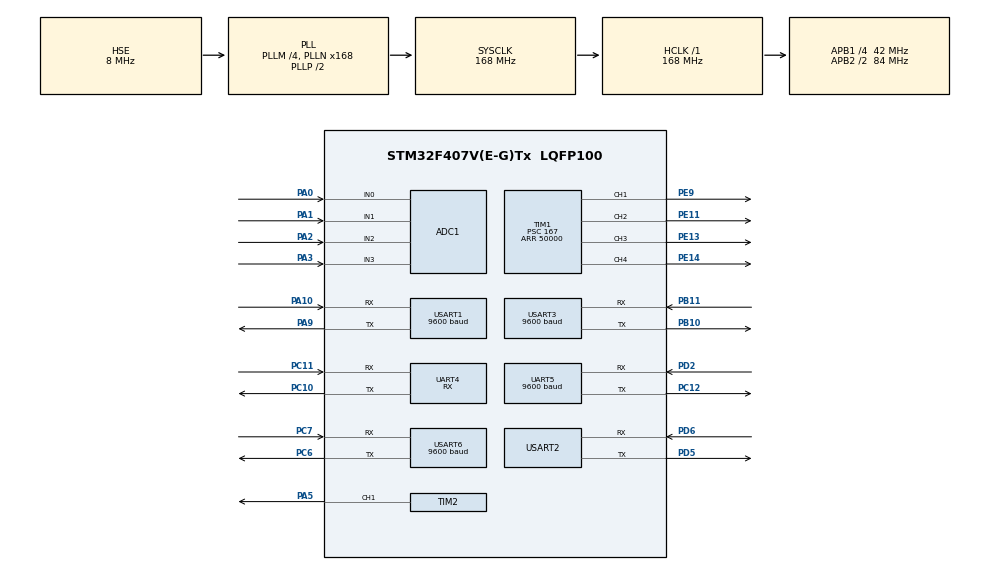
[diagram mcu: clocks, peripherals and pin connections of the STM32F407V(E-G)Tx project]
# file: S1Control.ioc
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ADC1.Channel-24\#ChannelRegularConversion=ADC_CHANNEL_0
ADC1.Channel-25\#ChannelRegularConversion=ADC_CHANNEL_1
ADC1.Channel-26\#ChannelRegularConversion=ADC_CHANNEL_2
ADC1.Channel-27\#ChannelRegularConversion=ADC_CHANNEL_3
ADC1.ContinuousConvMode=ENABLE
ADC1.DMAContinuousRequests=ENABLE
ADC1.EOCSelection=ADC_EOC_SEQ_CONV
ADC1.NbrOfConversion=4
ADC1.NbrOfConversionFlag=1
ADC1.Rank-24\#ChannelRegularConversion=1
ADC1.Rank-25\#ChannelRegularConversion=2
ADC1.Rank-26\#ChannelRegularConversion=3
ADC1.Rank-27\#ChannelRegularConversion=4
ADC1.SamplingTime-24\#ChannelRegularConversion=ADC_SAMPLETIME_84CYCLES
ADC1.SamplingTime-25\#ChannelRegularConversion=ADC_SAMPLETIME_84CYCLES
ADC1.SamplingTime-26\#ChannelRegularConversion=ADC_SAMPLETIME_84CYCLES
ADC1.SamplingTime-27\#ChannelRegularConversion=ADC_SAMPLETIME_84CYCLES
ADC1.ScanConvMode=ENABLE
ADC1.master=1
Dma.ADC1.6.Direction=DMA_PERIPH_TO_MEMORY
Dma.ADC1.6.FIFOMode=DMA_FIFOMODE_DISABLE
Dma.ADC1.6.Instance=DMA2_Stream0
Dma.ADC1.6.MemDataAlignment=DMA_MDATAALIGN_WORD
Dma.ADC1.6.MemInc=DMA_MINC_ENABLE
Dma.ADC1.6.Mode=DMA_CIRCULAR
Dma.ADC1.6.PeriphDataAlignment=DMA_PDATAALIGN_WORD
Dma.ADC1.6.PeriphInc=DMA_PINC_DISABLE
Dma.ADC1.6.Priority=DMA_PRIORITY_LOW
Dma.Request0=USART1_RX
Dma.Request1=USART2_RX
Dma.Request2=USART3_RX
Dma.Request3=USART3_TX
Dma.Request4=UART4_RX
Dma.Request5=USART2_TX
Dma.Request6=ADC1
Dma.Request7=UART5_TX
Dma.UART4_RX.4.Direction=DMA_PERIPH_TO_MEMORY
Dma.UART4_RX.4.FIFOMode=DMA_FIFOMODE_DISABLE
Dma.UART4_RX.4.Instance=DMA1_Stream2
Dma.UART4_RX.4.MemDataAlignment=DMA_MDATAALIGN_BYTE
Dma.UART4_RX.4.MemInc=DMA_MINC_ENABLE
Dma.UART4_RX.4.Mode=DMA_NORMAL
Dma.UART4_RX.4.PeriphDataAlignment=DMA_PDATAALIGN_BYTE
Dma.UART4_RX.4.PeriphInc=DMA_PINC_DISABLE
Dma.UART4_RX.4.Priority=DMA_PRIORITY_LOW
Dma.UART5_TX.7.Direction=DMA_MEMORY_TO_PERIPH
Dma.UART5_TX.7.FIFOMode=DMA_FIFOMODE_DISABLE
Dma.UART5_TX.7.Instance=DMA1_Stream7
Dma.UART5_TX.7.MemDataAlignment=DMA_MDATAALIGN_BYTE
Dma.UART5_TX.7.MemInc=DMA_MINC_ENABLE
Dma.UART5_TX.7.Mode=DMA_NORMAL
Dma.UART5_TX.7.PeriphDataAlignment=DMA_PDATAALIGN_BYTE
Dma.UART5_TX.7.PeriphInc=DMA_PINC_DISABLE
Dma.UART5_TX.7.Priority=DMA_PRIORITY_LOW
Dma.USART1_RX.0.Direction=DMA_PERIPH_TO_MEMORY
Dma.USART1_RX.0.FIFOMode=DMA_FIFOMODE_DISABLE
Dma.USART1_RX.0.Instance=DMA2_Stream5
Dma.USART1_RX.0.MemDataAlignment=DMA_MDATAALIGN_BYTE
Dma.USART1_RX.0.MemInc=DMA_MINC_ENABLE
Dma.USART1_RX.0.Mode=DMA_NORMAL
Dma.USART1_RX.0.PeriphDataAlignment=DMA_PDATAALIGN_BYTE
Dma.USART1_RX.0.PeriphInc=DMA_PINC_DISABLE
Dma.USART1_RX.0.Priority=DMA_PRIORITY_LOW
Dma.USART2_RX.1.Direction=DMA_PERIPH_TO_MEMORY
Dma.USART2_RX.1.FIFOMode=DMA_FIFOMODE_DISABLE
Dma.USART2_RX.1.Instance=DMA1_Stream5
Dma.USART2_RX.1.MemDataAlignment=DMA_MDATAALIGN_BYTE
Dma.USART2_RX.1.MemInc=DMA_MINC_ENABLE
Dma.USART2_RX.1.Mode=DMA_NORMAL
Dma.USART2_RX.1.PeriphDataAlignment=DMA_PDATAALIGN_BYTE
Dma.USART2_RX.1.PeriphInc=DMA_PINC_DISABLE
Dma.USART2_RX.1.Priority=DMA_PRIORITY_LOW
Dma.USART2_TX.5.Direction=DMA_MEMORY_TO_PERIPH
Dma.USART2_TX.5.FIFOMode=DMA_FIFOMODE_DISABLE
Dma.USART2_TX.5.Instance=DMA1_Stream6
Dma.USART2_TX.5.MemDataAlignment=DMA_MDATAALIGN_BYTE
Dma.USART2_TX.5.MemInc=DMA_MINC_ENABLE
Dma.USART2_TX.5.Mode=DMA_NORMAL
Dma.USART2_TX.5.PeriphDataAlignment=DMA_PDATAALIGN_BYTE
Dma.USART2_TX.5.PeriphInc=DMA_PINC_DISABLE
Dma.USART2_TX.5.Priority=DMA_PRIORITY_LOW
Dma.USART3_RX.2.Direction=DMA_PERIPH_TO_MEMORY
Dma.USART3_RX.2.FIFOMode=DMA_FIFOMODE_DISABLE
Dma.USART3_RX.2.Instance=DMA1_Stream1
Dma.USART3_RX.2.MemDataAlignment=DMA_MDATAALIGN_BYTE
Dma.USART3_RX.2.MemInc=DMA_MINC_ENABLE
Dma.USART3_RX.2.Mode=DMA_NORMAL
Dma.USART3_RX.2.PeriphDataAlignment=DMA_PDATAALIGN_BYTE
Dma.USART3_RX.2.PeriphInc=DMA_PINC_DISABLE
Dma.USART3_RX.2.Priority=DMA_PRIORITY_LOW
Dma.USART3_TX.3.Direction=DMA_MEMORY_TO_PERIPH
Dma.USART3_TX.3.FIFOMode=DMA_FIFOMODE_DISABLE
Dma.USART3_TX.3.Instance=DMA1_Stream3
Dma.USART3_TX.3.MemDataAlignment=DMA_MDATAALIGN_BYTE
Dma.USART3_TX.3.MemInc=DMA_MINC_ENABLE
Dma.USART3_TX.3.Mode=DMA_NORMAL
Dma.USART3_TX.3.PeriphDataAlignment=DMA_PDATAALIGN_BYTE
Dma.USART3_TX.3.PeriphInc=DMA_PINC_DISABLE
Dma.USART3_TX.3.Priority=DMA_PRIORITY_LOW
FREERTOS.Tasks01=UART1Task,0,128,U1Task,Default,NULL,Dynamic,NULL,NULL;UART2Task,0,128,U2Task,Default,NULL,Dynamic,NULL,NULL;UART3Task,0,128,U3Task,Default,NULL,Dynamic,NULL,NULL;UART4Task,0,128,U4Task,Default,NULL,Dynamic,NULL,NULL;DisplayTask,0,128,ScreenTask,Default,NULL,Dynamic,NULL,NULL
FREERTOS.configTICK_RATE_HZ=100
IWDG.Prescaler=IWDG_PRESCALER_32
IWDG.Reload=2047
Mcu.Family=STM32F4
Mcu.Name=STM32F407V(E-G)Tx
Mcu.Package=LQFP100
NVIC.DMA1_Stream1_IRQn=true\:5\:0\:false\:false\:true\:true\:false\:true
NVIC.DMA1_Stream2_IRQn=true\:5\:0\:false\:false\:true\:true\:false\:true
NVIC.DMA1_Stream3_IRQn=true\:5\:0\:false\:false\:true\:true\:false\:true
NVIC.DMA1_Stream5_IRQn=true\:5\:0\:false\:false\:true\:true\:false\:true
NVIC.DMA1_Stream6_IRQn=true\:5\:0\:false\:false\:true\:true\:false\:true
NVIC.DMA1_Stream7_IRQn=true\:5\:0\:false\:false\:true\:true\:false\:true
NVIC.DMA2_Stream0_IRQn=true\:5\:0\:false\:false\:true\:true\:false\:true
NVIC.DMA2_Stream5_IRQn=true\:5\:0\:false\:false\:true\:true\:false\:true
NVIC.PriorityGroup=NVIC_PRIORITYGROUP_4
NVIC.TIM6_DAC_IRQn=true\:0\:0\:false\:false\:true\:false\:false\:true
NVIC.TimeBase=TIM6_DAC_IRQn
NVIC.TimeBaseIP=TIM6
NVIC.UART4_IRQn=true\:5\:0\:false\:false\:true\:true\:true\:true
NVIC.UART5_IRQn=true\:5\:0\:false\:false\:true\:true\:true\:true
NVIC.USART1_IRQn=true\:5\:0\:false\:false\:true\:true\:true\:true
NVIC.USART2_IRQn=true\:5\:0\:false\:false\:true\:true\:true\:true
NVIC.USART3_IRQn=true\:5\:0\:false\:false\:true\:true\:true\:true
PA0-WKUP.Signal=ADCx_IN0
PA1.Signal=ADCx_IN1
PA10.Mode=Asynchronous
PA10.Signal=USART1_RX
PA13.Mode=Serial_Wire
PA13.Signal=SYS_JTMS-SWDIO
PA14.Mode=Serial_Wire
PA14.Signal=SYS_JTCK-SWCLK
PA2.Signal=ADCx_IN2
PA3.Signal=ADCx_IN3
PA5.Signal=S_TIM2_CH1_ETR
PA9.Mode=Asynchronous
PA9.Signal=USART1_TX
PB10.Mode=Asynchronous
PB10.Signal=USART3_TX
PB11.Mode=Asynchronous
PB11.Signal=USART3_RX
PC10.Mode=Asynchronous
PC10.Signal=UART4_TX
PC11.Mode=Asynchronous
PC11.Signal=UART4_RX
PC12.Mode=Asynchronous
PC12.Signal=UART5_TX
PC14-OSC32_IN.Mode=LSE-External-Oscillator
PC14-OSC32_IN.Signal=RCC_OSC32_IN
PC15-OSC32_OUT.Mode=LSE-External-Oscillator
PC15-OSC32_OUT.Signal=RCC_OSC32_OUT
PC6.Mode=Asynchronous
PC6.Signal=USART6_TX
PC7.Mode=Asynchronous
PC7.Signal=USART6_RX
PD2.Mode=Asynchronous
PD2.Signal=UART5_RX
PD5.Mode=Asynchronous
PD5.Signal=USART2_TX
PD6.Mode=Asynchronous
PD6.Signal=USART2_RX
PE11.Signal=S_TIM1_CH2
PE13.Signal=S_TIM1_CH3
PE14.Signal=S_TIM1_CH4
PE9.Signal=S_TIM1_CH1
PH0-OSC_IN.Mode=HSE-External-Oscillator
PH0-OSC_IN.Signal=RCC_OSC_IN
PH1-OSC_OUT.Mode=HSE-External-Oscillator
PH1-OSC_OUT.Signal=RCC_OSC_OUT
ProjectManager.HeapSize=0x200
ProjectManager.StackSize=0x400
ProjectManager.TargetToolchain=Other Toolchains (GPDSC)
RCC.48MHZClocksFreq_Value=84000000
RCC.AHBFreq_Value=168000000
RCC.APB1CLKDivider=RCC_HCLK_DIV4
RCC.APB1Freq_Value=42000000
RCC.APB1TimFreq_Value=84000000
RCC.APB2CLKDivider=RCC_HCLK_DIV2
RCC.APB2Freq_Value=84000000
RCC.APB2TimFreq_Value=168000000
RCC.CortexFreq_Value=168000000
RCC.HCLKFreq_Value=168000000
RCC.HSE_VALUE=8000000
RCC.HSI_VALUE=16000000
RCC.PLLM=4
RCC.PLLN=168
RCC.PLLSourceVirtual=RCC_PLLSOURCE_HSE
RCC.SYSCLKFreq_VALUE=168000000
RCC.SYSCLKSource=RCC_SYSCLKSOURCE_PLLCLK
RCC.VCOOutputFreq_Value=336000000
SH.ADCx_IN0.0=ADC1_IN0,IN0
SH.ADCx_IN1.0=ADC1_IN1,IN1
SH.ADCx_IN2.0=ADC1_IN2,IN2
SH.ADCx_IN3.0=ADC1_IN3,IN3
SH.S_TIM1_CH1.0=TIM1_CH1,PWM Generation1 CH1
SH.S_TIM1_CH2.0=TIM1_CH2,PWM Generation2 CH2
SH.S_TIM1_CH3.0=TIM1_CH3,PWM Generation3 CH3
SH.S_TIM1_CH4.0=TIM1_CH4,PWM Generation4 CH4
SH.S_TIM2_CH1_ETR.0=TIM2_CH1,PWM Generation1 CH1
TIM1.Channel-PWM\ Generation1\ CH1=TIM_CHANNEL_1
TIM1.Channel-PWM\ Generation2\ CH2=TIM_CHANNEL_2
TIM1.Channel-PWM\ Generation3\ CH3=TIM_CHANNEL_3
TIM1.Channel-PWM\ Generation4\ CH4=TIM_CHANNEL_4
TIM1.Period=50000
TIM1.Prescaler=167
TIM1.Pulse-PWM\ Generation1\ CH1=1100
TIM1.Pulse-PWM\ Generation2\ CH2=1500
TIM2.Channel-PWM\ Generation1\ CH1=TIM_CHANNEL_1
TIM2.Period=5000
TIM2.Prescaler=41
UART4.Mode=MODE_RX
UART4.VirtualMode=Asynchronous
UART5.BaudRate=9600
UART5.Mode=MODE_TX
UART5.VirtualMode=Asynchronous
USART1.BaudRate=9600
USART1.Mode=MODE_RX
USART1.VirtualMode=VM_ASYNC
USART2.VirtualMode=VM_ASYNC
USART3.BaudRate=9600
USART3.VirtualMode=VM_ASYNC
USART6.BaudRate=9600
USART6.VirtualMode=VM_ASYNC
VP_FREERTOS_VS_CMSIS_V1.Mode=CMSIS_V1
VP_IWDG_VS_IWDG.Mode=IWDG_Activate
VP_SYS_VS_tim6.Mode=TIM6
VP_TIM1_VS_ClockSourceINT.Mode=Internal
VP_TIM2_VS_ClockSourceINT.Mode=Internal
board=custom

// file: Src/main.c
/* USER CODE BEGIN Header */
/**
  ******************************************************************************
  * @file           : main.c
  * @brief          : Main program body
  ******************************************************************************
  * @attention
  *
  * <h2><center>&copy; Copyright (c) 2019 STMicroelectronics.
  * All rights reserved.</center></h2>
  *
  * This software component is licensed by ST under BSD 3-Clause license,
  * the "License"; You may not use this file except in compliance with the
  * License. You may obtain a copy of the License at:
  *                        opensource.org/licenses/BSD-3-Clause
  *
  ******************************************************************************
  */
/* USER CODE END Header */

#include "main.h"
#include "cmsis_os.h"

/* USER CODE BEGIN Includes */
#include <stdio.h>
/* USER CODE END Includes */

ADC_HandleTypeDef hadc1;
DMA_HandleTypeDef hdma_adc1;

IWDG_HandleTypeDef hiwdg;

TIM_HandleTypeDef htim1;
TIM_HandleTypeDef htim2;

UART_HandleTypeDef huart4;
UART_HandleTypeDef huart5;
UART_HandleTypeDef huart1;
UART_HandleTypeDef huart2;
UART_HandleTypeDef huart3;
UART_HandleTypeDef huart6;
DMA_HandleTypeDef hdma_uart4_rx;
DMA_HandleTypeDef hdma_uart5_tx;
DMA_HandleTypeDef hdma_usart1_rx;
DMA_HandleTypeDef hdma_usart2_rx;
DMA_HandleTypeDef hdma_usart2_tx;
DMA_HandleTypeDef hdma_usart3_rx;
DMA_HandleTypeDef hdma_usart3_tx;

osThreadId UART1TaskHandle;
osThreadId UART2TaskHandle;
osThreadId UART3TaskHandle;
osThreadId UART4TaskHandle;
osThreadId DisplayTaskHandle;
/* USER CODE BEGIN PV */

u8 SystemBegin = 0;

//Printf指向的指针变量
volatile UART_HandleTypeDef* UartHandle = &huart1;

//串口1RX口
volatile u8 U1_RX_Len = 0;
volatile u8 U1_RX_EndFlag = 0;
u8 U1_RX_Buffer[70];
char U1_RX_BufferSize = 70;
u8* U1_RX_Position = NULL;
//串口2RX口
volatile u8 U2_RX_Len = 0;
volatile u8 U2_RX_EndFlag = 0;
u8 U2_RX_Buffer[12];
char U2_RX_BufferSize = 12;
u8* U2_RX_Position = NULL;
//串口3RX口
volatile u8 U3_RX_Len = 0;
volatile u8 U3_RX_EndFlag = 0;
u8 U3_RX_Buffer[50];
char U3_RX_BufferSize = 50;
u8* U3_RX_Position = NULL;
//串口4RX口
volatile u8 U4_RX_Len = 0;
volatile u8 U4_RX_EndFlag = 0;
u8 U4_RX_Buffer[40];
char U4_RX_BufferSize = 40;
u8* U4_RX_Position = 0;

u8 U2_TX_Begin[30] = "$9:100:100:100:1100:1500:1500%";

float ControlTemperture = 0;
u16 Pitch = 0;
u16 Yaw = 0;
u16 Roll = 0;
u16 GeomagneticAngle = 0;
uint32_t WaterTemperture = 0;
uint32_t Depth = 0;
uint32_t ADCCache[4] = { 0 };
u16 ADCResult[4] = { 0 };
u16 Light = 0;
u16 PTZ = 0;
u16 Crab = 0;
int ControlWater[2] = { 6, 0 };
int PowerWater[4] = { 6, 1, 6, 1 };
u8 ScreenFinish[3] = { 0 };
u8 SendBuffer[5] = { 0x55, 0, 0, 0, 0x00 };
u8 SendByte = 0;

u8 SendDepth[5] = { 0 };
u8 SendWaterT[4] = { 0 };
u8 SendGAngle[3] = { 0 };
u8 SendPitch[3] = { 0 };
u8 SendPower[4] = { 0 };
u8 Num[11][2] =
{
	{ 0xa3, 0xb0 },
	{ 0xa3, 0xb1 },
	{ 0xa3, 0xb2 },
	{ 0xa3, 0xb3 },
	{ 0xa3, 0xb4 },
	{ 0xa3, 0xb5 },
	{ 0xa3, 0xb6 },
	{ 0xa3, 0xb7 },
	{ 0xa3, 0xb8 },
	{ 0xa3, 0xb9 },
	{ 0xa3, 0xae }
};
u8 SendPowerWater[3][6][2] =
{
{
	{ 0xb5, 0xe7 },
	{ 0xd4, 0xb4 },
	{ 0xb2, 0xd6 },
	{ 0xa3, 0xb1 },
	{ 0xc2, 0xa9 },
	{ 0xcb, 0xae }
},
{
	{ 0xb5, 0xe7 },
	{ 0xd4, 0xb4 },
	{ 0xb2, 0xd6 },
	{ 0xa3, 0xb2 },
	{ 0xc2, 0xa9 },
	{ 0xcb, 0xae }
},
{
	{ 0xa1, 0xa1 },
	{ 0xa1, 0xa1 },
	{ 0xa1, 0xa1 },
	{ 0xa1, 0xa1 },
	{ 0xa1, 0xa1 },
	{ 0xa1, 0xa1 }
}
};
u8 SendControlWater[2][5][2] =
{
{
	{ 0xbf, 0xd8 },
	{ 0xd6, 0xc6 },
	{ 0xb2, 0xd6 },
	{ 0xc2, 0xa9 },
	{ 0xcb, 0xae }
},
{
	{ 0xa1, 0xa1 },
	{ 0xa1, 0xa1 },
	{ 0xa1, 0xa1 },
	{ 0xa1, 0xa1 },
	{ 0xa1, 0xa1 }
}
};
u8 ControlWaterOn[25] = { 0x55, 0x07, 0x04, 0x01, 0x00, 0x55, 0x0A, 0x00, 0x00, 0x00, 0x55, 0x31, 0x05, 0x01, 0x00, 0xBF, 0xD8, 0xD6, 0xC6, 0xB2, 0xD6, 0xC2, 0xA9, 0xCB, 0xAE };
u8 ControlWaterOff[55] = { 0x55, 0x07, 0x04, 0x01, 0x00, 0x55, 0x0A, 0x00, 0x00, 0x00, 0x55, 0x31, 0x14, 0x01, 0x00, 0xA1, 0xA1, 0xA1, 0xA1, 0xA1, 0xA1, 0xA1, 0xA1, 0xA1, 0xA1, 0xA1, 0xA1, 0xA1, 0xA1, 0xA1, 0xA1, 0xA1, 0xA1, 0xA1, 0xA1, 0xA1, 0xA1, 0xA1, 0xA1, 0xA1, 0xA1, 0xA1, 0xA1, 0xA1, 0xA1, 0xA1, 0xA1, 0xA1, 0xA1, 0xA1, 0xA1, 0xA1, 0xA1, 0xA1, 0xA1 };
u8 PowerWaterOn[2][27] = {
	{ 0x55, 0x07, 0x05, 0x01, 0x00, 0x55, 0x0A, 0x00, 0x00, 0x00, 0x55, 0x31, 0x06, 0x01, 0x00, 0xB5, 0xE7, 0xD4, 0xB4, 0xB2, 0xD6, 0xA3, 0xB1, 0xC2, 0xA9, 0xCB, 0xAE },
	{ 0x55, 0x07, 0x06, 0x01, 0x00, 0x55, 0x0A, 0x00, 0x00, 0x00, 0x55, 0x31, 0x06, 0x01, 0x00, 0xB5, 0xE7, 0xD4, 0xB4, 0xB2, 0xD6, 0xA3, 0xB2, 0xC2, 0xA9, 0xCB, 0xAE }
};
u8 PowerWaterOff[2][27] = {
	{ 0x55, 0x07, 0x05, 0x01, 0x00, 0x55, 0x0A, 0x00, 0x00, 0x00, 0x55, 0x31, 0x06, 0x01, 0x00, 0xA1, 0xA1, 0xA1, 0xA1, 0xA1, 0xA1, 0xA1, 0xA1, 0xA1, 0xA1, 0xA1, 0xA1 },
	{ 0x55, 0x07, 0x06, 0x01, 0x00, 0x55, 0x0A, 0x00, 0x00, 0x00, 0x55, 0x31, 0x06, 0x01, 0x00, 0xA1, 0xA1, 0xA1, 0xA1, 0xA1, 0xA1, 0xA1, 0xA1, 0xA1, 0xA1, 0xA1, 0xA1 }
};

/* USER CODE END PV */

void SystemClock_Config(void);
static void MX_GPIO_Init(void);
static void MX_DMA_Init(void);
static void MX_USART1_UART_Init(void);
static void MX_USART2_UART_Init(void);
static void MX_IWDG_Init(void);
static void MX_TIM1_Init(void);
static void MX_UART4_Init(void);
static void MX_USART3_UART_Init(void);
static void MX_ADC1_Init(void);
static void MX_UART5_Init(void);
static void MX_USART6_UART_Init(void);
static void MX_TIM2_Init(void);
void U1Task(void const * argument);
void U2Task(void const * argument);
void U3Task(void const * argument);
void U4Task(void const * argument);
void ScreenTask(void const * argument);

/* USER CODE BEGIN PFP */
void Send5byte(u8 a, u8 b, u8 c);
void Sendbyte(u8 byte);
void SendLetter(u8 Letter[4]);
void SendNum(u8 H, u8 L, u8 Number);
/* USER CODE END PFP */

/* USER CODE BEGIN 0 */
//重定向函数
int fputc(int ch, FILE* f)
{
	uint8_t temp[1] = { ch };
	HAL_UART_Transmit(UartHandle, temp, 1, 2);
	return 1;
}

/* USER CODE END 0 */

int main(void)
{

  /* MCU Configuration--------------------------------------------------------*/

  /* Reset of all peripherals, Initializes the Flash interface and the Systick. */
  HAL_Init();

  /* Configure the system clock */
  SystemClock_Config();

  /* Initialize all configured peripherals */
  MX_GPIO_Init();
  MX_DMA_Init();
  MX_USART1_UART_Init();
  MX_USART2_UART_Init();
  MX_IWDG_Init();
  MX_TIM1_Init();
  MX_UART4_Init();
  MX_USART3_UART_Init();
  MX_ADC1_Init();
  MX_UART5_Init();
  MX_USART6_UART_Init();
  MX_TIM2_Init();
  /* USER CODE BEGIN 2 */
	/*while (!SystemBegin)
	{
		if (U1_RX_EndFlag == 1)
		{
			U1_RX_EndFlag = 0;
			if (((U1_RX_Position[1]) <= '9')&&((U1_RX_Position[1]) >= '0'))
			{
				SystemBegin = 1;
			}
			HAL_UART_Receive_DMA(&huart1, U1_RX_Buffer, U1_RX_BufferSize);
			__HAL_UART_ENABLE_IT(&huart1, UART_IT_IDLE);
		}
		else if (U2_RX_EndFlag == 1)
		{
			U2_RX_EndFlag = 0;
			if ((U2_RX_Position[3]) != 0)
			{
				SystemBegin = 1;
			}
			HAL_UART_Receive_DMA(&huart2, U2_RX_Buffer, U2_RX_BufferSize);
			__HAL_UART_ENABLE_IT(&huart2, UART_IT_IDLE);
		}
		HAL_IWDG_Refresh(&hiwdg);
	}*/
	HAL_IWDG_Refresh(&hiwdg);
	HAL_TIM_PWM_Start(&htim1, TIM_CHANNEL_1);
	HAL_TIM_PWM_Start(&htim2, TIM_CHANNEL_1);
	HAL_TIM_PWM_Start(&htim1, TIM_CHANNEL_3);
	TIM1->CCR1 = 1500;
	TIM2->CCR1 = 1500;
	TIM1->CCR3 = 0;
	HAL_ADC_Start_DMA(&hadc1, ADCCache, 4);
	HAL_UART_Receive_DMA(&huart3, U3_RX_Buffer, U3_RX_BufferSize);   //打开DMA接收，数据存入rx_buffer数组中。
	HAL_UART_Receive_DMA(&huart2, U2_RX_Buffer, U2_RX_BufferSize);   //打开DMA接收，数据存入rx_buffer数组中。
	HAL_UART_Receive_DMA(&huart4, U4_RX_Buffer, U4_RX_BufferSize);   //打开DMA接收，数据存入rx_buffer数组中。
	HAL_UART_Transmit_DMA(&huart2, U2_TX_Begin,30);
  /* USER CODE END 2 */

  /* Create the thread(s) */
  /* definition and creation of UART1Task */
  osThreadDef(UART1Task, U1Task, osPriorityNormal, 0, 128);
  UART1TaskHandle = osThreadCreate(osThread(UART1Task), NULL);

  /* definition and creation of UART2Task */
  osThreadDef(UART2Task, U2Task, osPriorityNormal, 0, 128);
  UART2TaskHandle = osThreadCreate(osThread(UART2Task), NULL);

  /* definition and creation of UART3Task */
  osThreadDef(UART3Task, U3Task, osPriorityNormal, 0, 128);
  UART3TaskHandle = osThreadCreate(osThread(UART3Task), NULL);

  /* definition and creation of UART4Task */
  osThreadDef(UART4Task, U4Task, osPriorityNormal, 0, 128);
  UART4TaskHandle = osThreadCreate(osThread(UART4Task), NULL);

  /* definition and creation of DisplayTask */
  osThreadDef(DisplayTask, ScreenTask, osPriorityNormal, 0, 128);
  DisplayTaskHandle = osThreadCreate(osThread(DisplayTask), NULL);

  /* Start scheduler */
  osKernelStart();

  /* We should never get here as control is now taken by the scheduler */

  /* Infinite loop */
	while (1)
	{

	}
}

void SystemClock_Config(void)
{
  RCC_OscInitTypeDef RCC_OscInitStruct = {0};
  RCC_ClkInitTypeDef RCC_ClkInitStruct = {0};

  /** Configure the main internal regulator output voltage
  */
  __HAL_RCC_PWR_CLK_ENABLE();
  __HAL_PWR_VOLTAGESCALING_CONFIG(PWR_REGULATOR_VOLTAGE_SCALE1);
  /** Initializes the CPU, AHB and APB busses clocks
  */
  RCC_OscInitStruct.OscillatorType = RCC_OSCILLATORTYPE_LSI|RCC_OSCILLATORTYPE_HSE;
  RCC_OscInitStruct.HSEState = RCC_HSE_ON;
  RCC_OscInitStruct.LSIState = RCC_LSI_ON;
  RCC_OscInitStruct.PLL.PLLState = RCC_PLL_ON;
  RCC_OscInitStruct.PLL.PLLSource = RCC_PLLSOURCE_HSE;
  RCC_OscInitStruct.PLL.PLLM = 4;
  RCC_OscInitStruct.PLL.PLLN = 168;
  RCC_OscInitStruct.PLL.PLLP = RCC_PLLP_DIV2;
  RCC_OscInitStruct.PLL.PLLQ = 4;
  if (HAL_RCC_OscConfig(&RCC_OscInitStruct) != HAL_OK)
  {
    Error_Handler();
  }
  /** Initializes the CPU, AHB and APB busses clocks
  */
  RCC_ClkInitStruct.ClockType = RCC_CLOCKTYPE_HCLK|RCC_CLOCKTYPE_SYSCLK
                              |RCC_CLOCKTYPE_PCLK1|RCC_CLOCKTYPE_PCLK2;
  RCC_ClkInitStruct.SYSCLKSource = RCC_SYSCLKSOURCE_PLLCLK;
  RCC_ClkInitStruct.AHBCLKDivider = RCC_SYSCLK_DIV1;
  RCC_ClkInitStruct.APB1CLKDivider = RCC_HCLK_DIV4;
  RCC_ClkInitStruct.APB2CLKDivider = RCC_HCLK_DIV2;

  if (HAL_RCC_ClockConfig(&RCC_ClkInitStruct, FLASH_LATENCY_5) != HAL_OK)
  {
    Error_Handler();
  }
}

static void MX_ADC1_Init(void)
{

  ADC_ChannelConfTypeDef sConfig = {0};

  /** Configure the global features of the ADC (Clock, Resolution, Data Alignment and number of conversion)
  */
  hadc1.Instance = ADC1;
  hadc1.Init.ClockPrescaler = ADC_CLOCK_SYNC_PCLK_DIV4;
  hadc1.Init.Resolution = ADC_RESOLUTION_12B;
  hadc1.Init.ScanConvMode = ENABLE;
  hadc1.Init.ContinuousConvMode = ENABLE;
  hadc1.Init.DiscontinuousConvMode = DISABLE;
  hadc1.Init.ExternalTrigConvEdge = ADC_EXTERNALTRIGCONVEDGE_NONE;
  hadc1.Init.ExternalTrigConv = ADC_SOFTWARE_START;
  hadc1.Init.DataAlign = ADC_DATAALIGN_RIGHT;
  hadc1.Init.NbrOfConversion = 4;
  hadc1.Init.DMAContinuousRequests = ENABLE;
  hadc1.Init.EOCSelection = ADC_EOC_SEQ_CONV;
  if (HAL_ADC_Init(&hadc1) != HAL_OK)
  {
    Error_Handler();
  }
  /** Configure for the selected ADC regular channel its corresponding rank in the sequencer and its sample time.
  */
  sConfig.Channel = ADC_CHANNEL_0;
  sConfig.Rank = 1;
  sConfig.SamplingTime = ADC_SAMPLETIME_84CYCLES;
  if (HAL_ADC_ConfigChannel(&hadc1, &sConfig) != HAL_OK)
  {
    Error_Handler();
  }
  /** Configure for the selected ADC regular channel its corresponding rank in the sequencer and its sample time.
  */
  sConfig.Channel = ADC_CHANNEL_1;
  sConfig.Rank = 2;
  if (HAL_ADC_ConfigChannel(&hadc1, &sConfig) != HAL_OK)
  {
    Error_Handler();
  }
  /** Configure for the selected ADC regular channel its corresponding rank in the sequencer and its sample time.
  */
  sConfig.Channel = ADC_CHANNEL_2;
  sConfig.Rank = 3;
  if (HAL_ADC_ConfigChannel(&hadc1, &sConfig) != HAL_OK)
  {
    Error_Handler();
  }
  /** Configure for the selected ADC regular channel its corresponding rank in the sequencer and its sample time.
  */
  sConfig.Channel = ADC_CHANNEL_3;
  sConfig.Rank = 4;
  if (HAL_ADC_ConfigChannel(&hadc1, &sConfig) != HAL_OK)
  {
    Error_Handler();
  }

}

static void MX_IWDG_Init(void)
{

  hiwdg.Instance = IWDG;
  hiwdg.Init.Prescaler = IWDG_PRESCALER_32;
  hiwdg.Init.Reload = 2047;
  if (HAL_IWDG_Init(&hiwdg) != HAL_OK)
  {
    Error_Handler();
  }

}

static void MX_TIM1_Init(void)
{

  TIM_ClockConfigTypeDef sClockSourceConfig = {0};
  TIM_MasterConfigTypeDef sMasterConfig = {0};
  TIM_OC_InitTypeDef sConfigOC = {0};
  TIM_BreakDeadTimeConfigTypeDef sBreakDeadTimeConfig = {0};

  htim1.Instance = TIM1;
  htim1.Init.Prescaler = 167;
  htim1.Init.CounterMode = TIM_COUNTERMODE_UP;
  htim1.Init.Period = 50000;
  htim1.Init.ClockDivision = TIM_CLOCKDIVISION_DIV1;
  htim1.Init.RepetitionCounter = 0;
  htim1.Init.AutoReloadPreload = TIM_AUTORELOAD_PRELOAD_DISABLE;
  if (HAL_TIM_Base_Init(&htim1) != HAL_OK)
  {
    Error_Handler();
  }
  sClockSourceConfig.ClockSource = TIM_CLOCKSOURCE_INTERNAL;
  if (HAL_TIM_ConfigClockSource(&htim1, &sClockSourceConfig) != HAL_OK)
  {
    Error_Handler();
  }
  if (HAL_TIM_PWM_Init(&htim1) != HAL_OK)
  {
    Error_Handler();
  }
  sMasterConfig.MasterOutputTrigger = TIM_TRGO_RESET;
  sMasterConfig.MasterSlaveMode = TIM_MASTERSLAVEMODE_DISABLE;
  if (HAL_TIMEx_MasterConfigSynchronization(&htim1, &sMasterConfig) != HAL_OK)
  {
    Error_Handler();
  }
  sConfigOC.OCMode = TIM_OCMODE_PWM1;
  sConfigOC.Pulse = 1100;
  sConfigOC.OCPolarity = TIM_OCPOLARITY_HIGH;
  sConfigOC.OCNPolarity = TIM_OCNPOLARITY_HIGH;
  sConfigOC.OCFastMode = TIM_OCFAST_DISABLE;
  sConfigOC.OCIdleState = TIM_OCIDLESTATE_RESET;
  sConfigOC.OCNIdleState = TIM_OCNIDLESTATE_RESET;
  if (HAL_TIM_PWM_ConfigChannel(&htim1, &sConfigOC, TIM_CHANNEL_1) != HAL_OK)
  {
    Error_Handler();
  }
  sConfigOC.Pulse = 1500;
  if (HAL_TIM_PWM_ConfigChannel(&htim1, &sConfigOC, TIM_CHANNEL_2) != HAL_OK)
  {
    Error_Handler();
  }
  sConfigOC.Pulse = 0;
  if (HAL_TIM_PWM_ConfigChannel(&htim1, &sConfigOC, TIM_CHANNEL_3) != HAL_OK)
  {
    Error_Handler();
  }
  if (HAL_TIM_PWM_ConfigChannel(&htim1, &sConfigOC, TIM_CHANNEL_4) != HAL_OK)
  {
    Error_Handler();
  }
  sBreakDeadTimeConfig.OffStateRunMode = TIM_OSSR_DISABLE;
  sBreakDeadTimeConfig.OffStateIDLEMode = TIM_OSSI_DISABLE;
  sBreakDeadTimeConfig.LockLevel = TIM_LOCKLEVEL_OFF;
  sBreakDeadTimeConfig.DeadTime = 0;
  sBreakDeadTimeConfig.BreakState = TIM_BREAK_DISABLE;
  sBreakDeadTimeConfig.BreakPolarity = TIM_BREAKPOLARITY_HIGH;
  sBreakDeadTimeConfig.AutomaticOutput = TIM_AUTOMATICOUTPUT_DISABLE;
  if (HAL_TIMEx_ConfigBreakDeadTime(&htim1, &sBreakDeadTimeConfig) != HAL_OK)
  {
    Error_Handler();
  }
  HAL_TIM_MspPostInit(&htim1);

}

static void MX_TIM2_Init(void)
{

  TIM_ClockConfigTypeDef sClockSourceConfig = {0};
  TIM_MasterConfigTypeDef sMasterConfig = {0};
  TIM_OC_InitTypeDef sConfigOC = {0};

  htim2.Instance = TIM2;
  htim2.Init.Prescaler = 41;
  htim2.Init.CounterMode = TIM_COUNTERMODE_UP;
  htim2.Init.Period = 5000;
  htim2.Init.ClockDivision = TIM_CLOCKDIVISION_DIV1;
  htim2.Init.AutoReloadPreload = TIM_AUTORELOAD_PRELOAD_DISABLE;
  if (HAL_TIM_Base_Init(&htim2) != HAL_OK)
  {
    Error_Handler();
  }
  sClockSourceConfig.ClockSource = TIM_CLOCKSOURCE_INTERNAL;
  if (HAL_TIM_ConfigClockSource(&htim2, &sClockSourceConfig) != HAL_OK)
  {
    Error_Handler();
  }
  if (HAL_TIM_PWM_Init(&htim2) != HAL_OK)
  {
    Error_Handler();
  }
  sMasterConfig.MasterOutputTrigger = TIM_TRGO_RESET;
  sMasterConfig.MasterSlaveMode = TIM_MASTERSLAVEMODE_DISABLE;
  if (HAL_TIMEx_MasterConfigSynchronization(&htim2, &sMasterConfig) != HAL_OK)
  {
    Error_Handler();
  }
  sConfigOC.OCMode = TIM_OCMODE_PWM1;
  sConfigOC.Pulse = 0;
  sConfigOC.OCPolarity = TIM_OCPOLARITY_HIGH;
  sConfigOC.OCFastMode = TIM_OCFAST_DISABLE;
  if (HAL_TIM_PWM_ConfigChannel(&htim2, &sConfigOC, TIM_CHANNEL_1) != HAL_OK)
  {
    Error_Handler();
  }
  HAL_TIM_MspPostInit(&htim2);

}

static void MX_UART4_Init(void)
{

  huart4.Instance = UART4;
  huart4.Init.BaudRate = 115200;
  huart4.Init.WordLength = UART_WORDLENGTH_8B;
  huart4.Init.StopBits = UART_STOPBITS_1;
  huart4.Init.Parity = UART_PARITY_NONE;
  huart4.Init.Mode = UART_MODE_RX;
  huart4.Init.HwFlowCtl = UART_HWCONTROL_NONE;
  huart4.Init.OverSampling = UART_OVERSAMPLING_16;
  if (HAL_UART_Init(&huart4) != HAL_OK)
  {
    Error_Handler();
  }
  /* USER CODE BEGIN UART4_Init 2 */

  __HAL_UART_ENABLE_IT(&huart4, UART_IT_IDLE);        //使能idle中断

  /* USER CODE END UART4_Init 2 */

}

static void MX_UART5_Init(void)
{

  huart5.Instance = UART5;
  huart5.Init.BaudRate = 9600;
  huart5.Init.WordLength = UART_WORDLENGTH_8B;
  huart5.Init.StopBits = UART_STOPBITS_1;
  huart5.Init.Parity = UART_PARITY_NONE;
  huart5.Init.Mode = UART_MODE_TX;
  huart5.Init.HwFlowCtl = UART_HWCONTROL_NONE;
  huart5.Init.OverSampling = UART_OVERSAMPLING_16;
  if (HAL_UART_Init(&huart5) != HAL_OK)
  {
    Error_Handler();
  }

}

static void MX_USART1_UART_Init(void)
{

  huart1.Instance = USART1;
  huart1.Init.BaudRate = 9600;
  huart1.Init.WordLength = UART_WORDLENGTH_8B;
  huart1.Init.StopBits = UART_STOPBITS_1;
  huart1.Init.Parity = UART_PARITY_NONE;
  huart1.Init.Mode = UART_MODE_RX;
  huart1.Init.HwFlowCtl = UART_HWCONTROL_NONE;
  huart1.Init.OverSampling = UART_OVERSAMPLING_16;
  if (HAL_UART_Init(&huart1) != HAL_OK)
  {
    Error_Handler();
  }
  /* USER CODE BEGIN USART1_Init 2 */
  __HAL_UART_ENABLE_IT(&huart1, UART_IT_IDLE);        //使能idle中断
  HAL_UART_Receive_DMA(&huart1, U1_RX_Buffer, U1_RX_BufferSize);  //打开DMA接收，数据存入rx_buffer数组中。
  /* USER CODE END USART1_Init 2 */

}

static void MX_USART2_UART_Init(void)
{

  huart2.Instance = USART2;
  huart2.Init.BaudRate = 115200;
  huart2.Init.WordLength = UART_WORDLENGTH_8B;
  huart2.Init.StopBits = UART_STOPBITS_1;
  huart2.Init.Parity = UART_PARITY_NONE;
  huart2.Init.Mode = UART_MODE_TX_RX;
  huart2.Init.HwFlowCtl = UART_HWCONTROL_NONE;
  huart2.Init.OverSampling = UART_OVERSAMPLING_16;
  if (HAL_UART_Init(&huart2) != HAL_OK)
  {
    Error_Handler();
  }
  /* USER CODE BEGIN USART2_Init 2 */
  __HAL_UART_ENABLE_IT(&huart2, UART_IT_IDLE);        //使能idle中断
  /* USER CODE END USART2_Init 2 */

}

static void MX_USART3_UART_Init(void)
{

  huart3.Instance = USART3;
  huart3.Init.BaudRate = 9600;
  huart3.Init.WordLength = UART_WORDLENGTH_8B;
  huart3.Init.StopBits = UART_STOPBITS_1;
  huart3.Init.Parity = UART_PARITY_NONE;
  huart3.Init.Mode = UART_MODE_TX_RX;
  huart3.Init.HwFlowCtl = UART_HWCONTROL_NONE;
  huart3.Init.OverSampling = UART_OVERSAMPLING_16;
  if (HAL_UART_Init(&huart3) != HAL_OK)
  {
    Error_Handler();
  }
  /* USER CODE BEGIN USART3_Init 2 */
  __HAL_UART_ENABLE_IT(&huart3, UART_IT_IDLE);        //使能idle中断
  /* USER CODE END USART3_Init 2 */

}

static void MX_USART6_UART_Init(void)
{

  huart6.Instance = USART6;
  huart6.Init.BaudRate = 9600;
  huart6.Init.WordLength = UART_WORDLENGTH_8B;
  huart6.Init.StopBits = UART_STOPBITS_1;
  huart6.Init.Parity = UART_PARITY_NONE;
  huart6.Init.Mode = UART_MODE_TX_RX;
  huart6.Init.HwFlowCtl = UART_HWCONTROL_NONE;
  huart6.Init.OverSampling = UART_OVERSAMPLING_16;
  if (HAL_UART_Init(&huart6) != HAL_OK)
  {
    Error_Handler();
  }

}

static void MX_DMA_Init(void)
{

  /* DMA controller clock enable */
  __HAL_RCC_DMA2_CLK_ENABLE();
  __HAL_RCC_DMA1_CLK_ENABLE();

  /* DMA interrupt init */
  /* DMA1_Stream1_IRQn interrupt configuration */
  HAL_NVIC_SetPriority(DMA1_Stream1_IRQn, 5, 0);
  HAL_NVIC_EnableIRQ(DMA1_Stream1_IRQn);
  /* DMA1_Stream2_IRQn interrupt configuration */
  HAL_NVIC_SetPriority(DMA1_Stream2_IRQn, 5, 0);
  HAL_NVIC_EnableIRQ(DMA1_Stream2_IRQn);
  /* DMA1_Stream3_IRQn interrupt configuration */
  HAL_NVIC_SetPriority(DMA1_Stream3_IRQn, 5, 0);
  HAL_NVIC_EnableIRQ(DMA1_Stream3_IRQn);
  /* DMA1_Stream5_IRQn interrupt configuration */
  HAL_NVIC_SetPriority(DMA1_Stream5_IRQn, 5, 0);
  HAL_NVIC_EnableIRQ(DMA1_Stream5_IRQn);
  /* DMA1_Stream6_IRQn interrupt configuration */
  HAL_NVIC_SetPriority(DMA1_Stream6_IRQn, 5, 0);
  HAL_NVIC_EnableIRQ(DMA1_Stream6_IRQn);
  /* DMA1_Stream7_IRQn interrupt configuration */
  HAL_NVIC_SetPriority(DMA1_Stream7_IRQn, 5, 0);
  HAL_NVIC_EnableIRQ(DMA1_Stream7_IRQn);
  /* DMA2_Stream0_IRQn interrupt configuration */
  HAL_NVIC_SetPriority(DMA2_Stream0_IRQn, 5, 0);
  HAL_NVIC_EnableIRQ(DMA2_Stream0_IRQn);
  /* DMA2_Stream5_IRQn interrupt configuration */
  HAL_NVIC_SetPriority(DMA2_Stream5_IRQn, 5, 0);
  HAL_NVIC_EnableIRQ(DMA2_Stream5_IRQn);

}

static void MX_GPIO_Init(void)
{

  /* GPIO Ports Clock Enable */
  __HAL_RCC_GPIOC_CLK_ENABLE();
  __HAL_RCC_GPIOH_CLK_ENABLE();
  __HAL_RCC_GPIOA_CLK_ENABLE();
  __HAL_RCC_GPIOE_CLK_ENABLE();
  __HAL_RCC_GPIOB_CLK_ENABLE();
  __HAL_RCC_GPIOD_CLK_ENABLE();

}

/* USER CODE BEGIN 4 */

void Send5byte(u8 a, u8 b, u8 c)
{
	SendBuffer[1] = a;
	SendBuffer[2] = b;
	SendBuffer[3] = c;
	HAL_UART_Transmit_DMA(&huart5, SendBuffer, 5);
}
void Sendbyte(u8 byte)
{
	SendByte = 0;
	HAL_UART_Transmit_DMA(&huart5, &SendByte, 1);
}
void SendLetter(u8 Letter[4])
{
	HAL_UART_Transmit_DMA(&huart5, Letter, 4);
}
void SendNum(u8 Row, u8 Column, u8 Number)
{
	static u8 SendTempBuffer[10] = { 0x55, 0x07, 0x00, 0x00, 0x00, 0x55, 0x08, 0x00, 0x00, 0x00 };
	SendTempBuffer[2] = Row;
	SendTempBuffer[3] = Column;
	SendTempBuffer[7] = Num[Number][0];
	SendTempBuffer[8] = Num[Number][1];
	HAL_UART_Transmit_DMA(&huart5, SendTempBuffer, 10);
}
/* USER CODE END 4 */

void U1Task(void const * argument)
{

  /* USER CODE BEGIN 5 */
  /* Infinite loop */
  for(;;)
  {
	  if (U1_RX_EndFlag == 1)
	  {
		  U1_RX_EndFlag = 0;
		  Light = (U1_RX_Position[18] - '0') + (U1_RX_Position[17] - '0') * 10 + (U1_RX_Position[16] - '0') * 100 + (U1_RX_Position[15] - '0') * 1000;
		  PTZ = (U1_RX_Position[23] - '0') + (U1_RX_Position[22] - '0') * 10 + (U1_RX_Position[21] - '0') * 100 + (U1_RX_Position[20] - '0') * 1000;
		  //Crab = (U1_RX_Position[28] - '0') + (U1_RX_Position[27] - '0') * 10 + (U1_RX_Position[26] - '0') * 100 + (U1_RX_Position[25] - '0') * 1000;
		  TIM2->CCR1 = Light;
		  TIM1->CCR3 = PTZ;
		  TIM1->CCR1 = Crab;
		  HAL_UART_Transmit_DMA(&huart2, U1_RX_Position, 30);
		  HAL_UART_Receive_DMA(&huart1, U1_RX_Buffer, U1_RX_BufferSize);
		  HAL_IWDG_Refresh(&hiwdg);
		  __HAL_UART_ENABLE_IT(&huart1, UART_IT_IDLE);
	  }
	  osDelay(1);
  }
  /* USER CODE END 5 */
}

void U2Task(void const * argument)
{
  /* USER CODE BEGIN U2Task */
  /* Infinite loop */
  for(;;)
  {
	  if (U2_RX_EndFlag == 1)
	  {
		  U2_RX_EndFlag = 0;
		  if (U2_RX_Position[1] == '1')
		  {
			  ++PowerWater[0];
		  }
		  else if (U2_RX_Position[1] == '0')
		  {
			  --PowerWater[0];
		  }
		  if (U2_RX_Position[3] == '1')
		  {
			  ++PowerWater[2];
		  }
		  else if (U2_RX_Position[3] == '0')
		  {
			  --PowerWater[2];
		  }

		  HAL_UART_Receive_DMA(&huart2, U2_RX_Buffer, U2_RX_BufferSize);
		  HAL_IWDG_Refresh(&hiwdg);
		  __HAL_UART_ENABLE_IT(&huart2, UART_IT_IDLE);
	  }
	  osDelay(1);
  }
  /* USER CODE END U2Task */
}

void U3Task(void const * argument)
{
  /* USER CODE BEGIN U3Task */
  /* Infinite loop */
  for(;;)
  {
	  if (U3_RX_EndFlag == 1)
	  {
		  U3_RX_EndFlag = 0;

		  if (!ScreenFinish[2])
		  {
			  ControlTemperture = (U3_RX_Position[1] - '0') * 10 + (U3_RX_Position[2] - '0') * 1 + (U3_RX_Position[3] - '0') * 0.1;
			  Pitch = (U3_RX_Position[5] - '0') * 100 + (U3_RX_Position[6] - '0') * 10 + (U3_RX_Position[7] - '0');
			  Yaw = (U3_RX_Position[9] - '0') * 100 + (U3_RX_Position[10] - '0') * 10 + (U3_RX_Position[11] - '0');
			  Roll = (U3_RX_Position[13] - '0') * 100 + (U3_RX_Position[14] - '0') * 10 + (U3_RX_Position[15] - '0');
			  GeomagneticAngle = (U3_RX_Position[17] - '0') * 100 + (U3_RX_Position[18] - '0') * 10 + (U3_RX_Position[19] - '0');
			  float testing = ADCCache[3] * 3.3 / 4096;
			  ADCResult[3] = ADCCache[3] * 3.3 / 4096 * 500;
			  SendGAngle[0] = GeomagneticAngle / 100;
			  GeomagneticAngle %= 100;
			  SendGAngle[1] = GeomagneticAngle / 10;
			  SendGAngle[2] = GeomagneticAngle % 10;
			  SendPitch[0] = Pitch / 100;
			  Pitch %= 100;
			  SendPitch[1] = Pitch / 10;
			  SendPitch[2] = Pitch % 10;
			  SendPower[0] = ADCResult[3] / 1000;
			  ADCResult[3] %= 1000;
			  SendPower[1] = ADCResult[3] / 100;
			  ADCResult[3] %= 100;
			  SendPower[2] = ADCResult[3] / 10;
			  SendPower[3] = ADCResult[3] % 10;
			  ScreenFinish[2] = 1;
		  }
		  if (U3_RX_Position[21] == '1')
		  {
			  ++ControlWater[0];
		  }
		  else if (U3_RX_Position[21] == '0')
		  {
			  --ControlWater[0];
		  }
		  HAL_UART_Receive_DMA(&huart3, U3_RX_Buffer, U3_RX_BufferSize);
		  HAL_IWDG_Refresh(&hiwdg);
		  __HAL_UART_ENABLE_IT(&huart3, UART_IT_IDLE);
	  }
	  osDelay(1);
  }
  /* USER CODE END U3Task */
}

void U4Task(void const * argument)
{
  /* USER CODE BEGIN U4Task */
  /* Infinite loop */
  for(;;)
  {
	  if (U4_RX_EndFlag == 1)
	  {
		  U4_RX_EndFlag = 0;
		  if (U4_RX_Position[4] == '.')
		  {
			  WaterTemperture = (U4_RX_Position[2] - '0') * 1000 + (U4_RX_Position[3] - '0') * 100 + (U4_RX_Position[5] - '0') * 10 + (U4_RX_Position[6] - '0');
			  if (U4_RX_Position[9] == '-')
			  {
				  Depth = 0;
			  }
			  else
			  {
				  if (U4_RX_Position[10] == '.')
				  {
					  Depth = (U4_RX_Position[9] - '0') * 100 + (U4_RX_Position[11] - '0') * 10 + (U4_RX_Position[12] - '0');
				  }
				  else if (U4_RX_Position[11] == '.')
				  {
					  Depth = (U4_RX_Position[9] - '0') * 1000 + (U4_RX_Position[10] - '0') * 100 + (U4_RX_Position[12] - '0') * 10 + (U4_RX_Position[13] - '0');
				  }
				  else if (U4_RX_Position[12] == '.')
				  {
					  Depth = (U4_RX_Position[9] - '0') * 10000 + (U4_RX_Position[10] - '0') * 1000 + (U4_RX_Position[11] - '0') * 100 + (U4_RX_Position[13] - '0') * 10 + (U4_RX_Position[14] - '0');
				  }
			  }
		  }
		  else if (U4_RX_Position[3] == '.')
		  {
			  WaterTemperture = (U4_RX_Position[2] - '0') * 100 + (U4_RX_Position[4] - '0') * 10 + (U4_RX_Position[5] - '0');
			  if (U4_RX_Position[8] == '-')
			  {
				  Depth = 0;
			  }
			  else
			  {
				  if (U4_RX_Position[9] == '.')
				  {
					  Depth = (U4_RX_Position[8] - '0') * 100 + (U4_RX_Position[10] - '0') * 10 + (U4_RX_Position[11] - '0');

				  }
				  else if (U4_RX_Position[10] == '.')
				  {
					  Depth = (U4_RX_Position[8] - '0') * 1000 + (U4_RX_Position[9] - '0') * 100 + (U4_RX_Position[11] - '0') * 10 + (U4_RX_Position[12] - '0');

				  }
				  else if (U4_RX_Position[11] == '.')
				  {
					  Depth = (U4_RX_Position[8] - '0') * 10000 + (U4_RX_Position[9] - '0') * 1000 + (U4_RX_Position[10] - '0') * 100 + (U4_RX_Position[12] - '0') * 10 + (U4_RX_Position[13] - '0');

				  }
			  }
		  }
		  if (!ScreenFinish[0])
		  {
			  SendDepth[0] = Depth / 10000;
			  Depth %= 10000;
			  SendDepth[1] = Depth / 1000;
			  Depth %= 1000;
			  SendDepth[2] = Depth / 100;
			  Depth %= 100;
			  SendDepth[3] = Depth / 10;
			  SendDepth[4] = Depth % 10;
			  SendWaterT[0] = WaterTemperture / 1000;
			  WaterTemperture %= 1000;
			  SendWaterT[1] = WaterTemperture / 100;
			  WaterTemperture %= 100;
			  SendWaterT[2] = WaterTemperture / 10;
			  SendWaterT[3] = WaterTemperture % 10;
			  ScreenFinish[0] = 1;
		  }

		  HAL_UART_Receive_DMA(&huart4, U4_RX_Buffer, U4_RX_BufferSize);
		  HAL_IWDG_Refresh(&hiwdg);
		  __HAL_UART_ENABLE_IT(&huart4, UART_IT_IDLE);
	  }
	  osDelay(1);
  }
  /* USER CODE END U4Task */
}

void ScreenTask(void const * argument)
{
  /* USER CODE BEGIN ScreenTask */
  /* Infinite loop */

	for (;;)
	{

		static int i = 0;
		static int j = 0;
		static int ScreenTime = 0;
		if ((ScreenFinish[0] == 1)&&(ScreenFinish[2] == 1))
		{
			switch (ScreenTime)
			{
			case 0:
				if (j == 3)
				{
					SendNum(1, 4 + j, 10);
					++j;
				}
				else if (j == 6)
				{
					i = 0;
					j = 0;
					ScreenTime = 1;
				}
				else
				{
					SendNum(1, 4 + j, SendDepth[i]);
					++i;
					++j;
				}
				break;
			case 1:
				if (j == 2)
				{
					SendNum(2, 4 + j, 10);
					++j;
				}
				else if (j == 5)
				{
					i = 0;
					j = 0;
					ScreenTime = 2;
				}
				else
				{
					SendNum(2, 4 + j, SendWaterT[i]);
					++i;
					++j;
				}
				break;
			case 2:
				if (j == 3)
				{
					i = 0;
					j = 0;
					ScreenTime = 3;
				}
				else
				{
					SendNum(1, 16 + j, SendGAngle[i]);
					++i;
					++j;
				}
				break;
			case 3:
				if (j == 3)
				{
					i = 0;
					j = 0;
					ScreenTime = 4;
				}
				else
				{
					SendNum(8, 1 + j, SendPitch[i]);
					++j;
					++i;
				}
				break;
			case 4:
				if (j == 2)
				{
					SendNum(3, 4 + j, 10);
					++j;
				}
				else if (j == 4)
				{
					i = 0;
					j = 0;
					ScreenTime = 5;
				}
				else
				{
					SendNum(3, 4 + j, SendPower[i]);
					++i;
					++j;
				}
				break;
			case 5:
				ScreenTime = 0;
				ScreenFinish[0] = 0;
				ScreenFinish[2] = 0;
				break;
			}
		}
		osDelay(15);
		if (ControlWater[0] >= 10)
		{
			if (1/*ControlWater[1] == 0*/)
			{
				ControlWater[1] = 1;
				HAL_UART_Transmit_DMA(&huart5, ControlWaterOn, 25);
				osDelay(50);
			}
			ControlWater[0] = 5;
		}
		else if (ControlWater[0] <= 0)
		{
			if (1/*ControlWater[1] == 1*/)
			{
				ControlWater[1] = 0;
				HAL_UART_Transmit_DMA(&huart5, ControlWaterOff, 55);
				osDelay(50);
			}
			ControlWater[0] = 5;
		}
		if (PowerWater[0] >= 10)
		{
			if (1/*PowerWater[1] == 0*/)
			{
				PowerWater[1] = 1;
				HAL_UART_Transmit_DMA(&huart5, PowerWaterOn[0], 27);
				osDelay(50);
			}
			PowerWater[0] = 5;
		}
		else if (PowerWater[0] <= 0)
		{
			if (1/*PowerWater[1] == 1*/)
			{
				PowerWater[1] = 0;
				HAL_UART_Transmit_DMA(&huart5, PowerWaterOff[0], 27);
				osDelay(50);
			}
			PowerWater[0] = 5;
		}
		if (PowerWater[2] >= 10)
		{
			if (1/*PowerWater[3] == 0*/)
			{
				PowerWater[3] = 1;
				HAL_UART_Transmit_DMA(&huart5, PowerWaterOn[1], 27);
				osDelay(50);
			}
			PowerWater[2] = 5;
		}
		else if (PowerWater[2] <= 0)
		{
			if (1/*PowerWater[3] == 1*/)
			{
				PowerWater[3] = 0;
				HAL_UART_Transmit_DMA(&huart5, PowerWaterOff[1], 27);
				osDelay(50);
			}
			PowerWater[2] = 5;
		}
		HAL_IWDG_Refresh(&hiwdg);
		osDelay(1);
	}
  /* USER CODE END ScreenTask */
}

void HAL_TIM_PeriodElapsedCallback(TIM_HandleTypeDef *htim)
{
  if (htim->Instance == TIM6) {
    HAL_IncTick();
  }
}

void Error_Handler(void)
{
}

/************************ (C) COPYRIGHT STMicroelectronics *****END OF FILE****/
